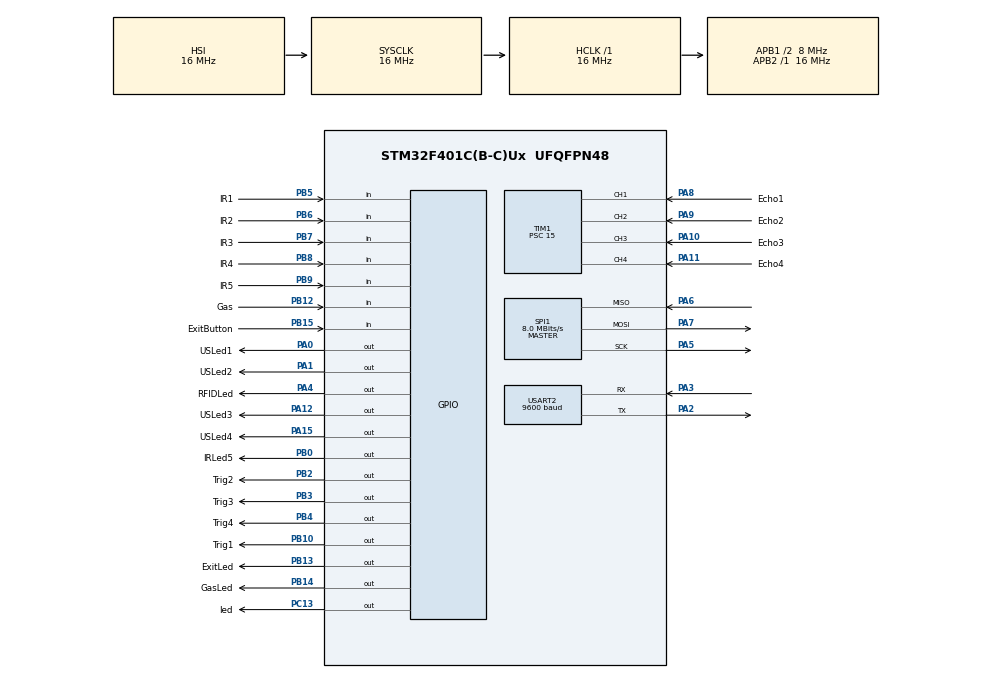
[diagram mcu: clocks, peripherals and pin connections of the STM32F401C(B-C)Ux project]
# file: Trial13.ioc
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Mcu.Family=STM32F4
Mcu.Name=STM32F401C(B-C)Ux
Mcu.Package=UFQFPN48
NVIC.PriorityGroup=NVIC_PRIORITYGROUP_4
NVIC.TIM1_CC_IRQn=true\:0\:0\:false\:false\:true\:true\:true\:true
PA0-WKUP.GPIO_Label=USLed1
PA0-WKUP.Signal=GPIO_Output
PA1.GPIO_Label=USLed2
PA1.Signal=GPIO_Output
PA10.GPIO_Label=Echo3
PA10.Signal=S_TIM1_CH3
PA11.GPIO_Label=Echo4
PA11.Signal=S_TIM1_CH4
PA12.GPIO_Label=USLed3
PA12.Signal=GPIO_Output
PA13.Mode=Serial_Wire
PA13.Signal=SYS_JTMS-SWDIO
PA14.Mode=Serial_Wire
PA14.Signal=SYS_JTCK-SWCLK
PA15.GPIO_Label=USLed4
PA15.Signal=GPIO_Output
PA2.Mode=Asynchronous
PA2.Signal=USART2_TX
PA3.Mode=Asynchronous
PA3.Signal=USART2_RX
PA4.GPIO_Label=RFIDLed
PA4.Signal=GPIO_Output
PA5.Mode=Full_Duplex_Master
PA5.Signal=SPI1_SCK
PA6.Mode=Full_Duplex_Master
PA6.Signal=SPI1_MISO
PA7.Mode=Full_Duplex_Master
PA7.Signal=SPI1_MOSI
PA8.GPIO_Label=Echo1
PA8.Signal=S_TIM1_CH1
PA9.GPIO_Label=Echo2
PA9.Signal=S_TIM1_CH2
PB0.GPIO_Label=IRLed5
PB0.Signal=GPIO_Output
PB10.GPIO_Label=Trig1
PB10.Signal=GPIO_Output
PB12.GPIO_Label=Gas
PB12.Signal=GPIO_Input
PB13.GPIO_Label=ExitLed
PB13.Signal=GPIO_Output
PB14.GPIO_Label=GasLed
PB14.Signal=GPIO_Output
PB15.GPIO_Label=ExitButton
PB15.GPIO_PuPd=GPIO_PULLUP
PB15.Signal=GPIO_Input
PB2.GPIO_Label=Trig2
PB2.Signal=GPIO_Output
PB3.GPIO_Label=Trig3
PB3.Signal=GPIO_Output
PB4.GPIO_Label=Trig4
PB4.Signal=GPIO_Output
PB5.GPIO_Label=IR1
PB5.GPIO_PuPd=GPIO_PULLUP
PB5.Signal=GPIO_Input
PB6.GPIO_Label=IR2
PB6.GPIO_PuPd=GPIO_PULLUP
PB6.Signal=GPIO_Input
PB7.GPIO_Label=IR3
PB7.GPIO_PuPd=GPIO_PULLUP
PB7.Signal=GPIO_Input
PB8.GPIO_Label=IR4
PB8.GPIO_PuPd=GPIO_PULLUP
PB8.Signal=GPIO_Input
PB9.GPIO_Label=IR5
PB9.GPIO_PuPd=GPIO_PULLUP
PB9.Signal=GPIO_Input
PC13-ANTI_TAMP.GPIO_Label=led
PC13-ANTI_TAMP.Signal=GPIO_Output
PH0\ -\ OSC_IN.Mode=HSE-External-Oscillator
PH0\ -\ OSC_IN.Signal=RCC_OSC_IN
PH1\ -\ OSC_OUT.Mode=HSE-External-Oscillator
PH1\ -\ OSC_OUT.Signal=RCC_OSC_OUT
ProjectManager.HeapSize=0x200
ProjectManager.StackSize=0x400
ProjectManager.TargetToolchain=STM32CubeIDE
RCC.48MHZClocksFreq_Value=26880000
RCC.AHBFreq_Value=16000000
RCC.APB1CLKDivider=RCC_HCLK_DIV2
RCC.APB1Freq_Value=8000000
RCC.APB1TimFreq_Value=16000000
RCC.APB2Freq_Value=16000000
RCC.APB2TimFreq_Value=16000000
RCC.CortexFreq_Value=16000000
RCC.HCLKFreq_Value=16000000
RCC.HSE_VALUE=25000000
RCC.HSI_VALUE=16000000
RCC.LSE_VALUE=32768
RCC.PLLM=25
RCC.PLLN=168
RCC.SYSCLKFreq_VALUE=16000000
RCC.VCOOutputFreq_Value=107520000
SH.S_TIM1_CH1.0=TIM1_CH1,Input_Capture1_from_TI1
SH.S_TIM1_CH2.0=TIM1_CH2,Input_Capture2_from_TI2
SH.S_TIM1_CH3.0=TIM1_CH3,Input_Capture3_from_TI3
SH.S_TIM1_CH4.0=TIM1_CH4,Input_Capture4_from_TI4
SPI1.BaudRatePrescaler=SPI_BAUDRATEPRESCALER_2
SPI1.CalculateBaudRate=8.0 MBits/s
SPI1.Direction=SPI_DIRECTION_2LINES
SPI1.Mode=SPI_MODE_MASTER
SPI1.VirtualType=VM_MASTER
TIM1.Channel-Input_Capture1_from_TI1=TIM_CHANNEL_1
TIM1.Channel-Input_Capture2_from_TI2=TIM_CHANNEL_2
TIM1.Channel-Input_Capture3_from_TI3=TIM_CHANNEL_3
TIM1.Channel-Input_Capture4_from_TI4=TIM_CHANNEL_4
TIM1.Prescaler=15
USART2.BaudRate=9600
USART2.VirtualMode=VM_ASYNC
VP_TIM1_VS_ClockSourceINT.Mode=Internal
board=custom

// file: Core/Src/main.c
/* USER CODE BEGIN Header */
/**
  ******************************************************************************
  * @file           : main.c
  * @brief          : Main program body
  ******************************************************************************
  * @attention
  *
  * Copyright (c) 2026 STMicroelectronics.
  * All rights reserved.
  *
  * This software is licensed under terms that can be found in the LICENSE file
  * in the root directory of this software component.
  * If no LICENSE file comes with this software, it is provided AS-IS.
  *
  ******************************************************************************
  */
/* USER CODE END Header */
#include "main.h"

/* USER CODE BEGIN Includes */
#include "rc522.h"
#include "string.h"
#include "stdio.h"
/* USER CODE END Includes */

SPI_HandleTypeDef hspi1;

TIM_HandleTypeDef htim1;

UART_HandleTypeDef huart2;

/* USER CODE BEGIN PV */
uint8_t status;
uint8_t str[16];
uint8_t sNum[5];
//char global_rx_buffer[256] = {0}; //sol
//uint8_t rx_idx = 0; //sol
/* USER CODE END PV */

void SystemClock_Config(void);
static void MX_GPIO_Init(void);
static void MX_TIM1_Init(void);
static void MX_USART2_UART_Init(void);
static void MX_SPI1_Init(void);

/* USER CODE BEGIN 0 */

uint32_t IC_Val1[4] = {0};
uint32_t IC_Val2[4] = {0};
uint32_t Difference[4] = {0};
uint8_t Is_First_Captured[4] = {0};
float Distance[4] = {0};

void delay_us(uint16_t us)
{
    __HAL_TIM_SET_COUNTER(&htim1, 0);
    while (__HAL_TIM_GET_COUNTER(&htim1) < us);
}

void HCSR04_Read_Sensor(uint8_t idx)
{
    uint16_t trig_pin;
    uint32_t channel_it;
    uint32_t timer_channel;

    switch(idx)
    {
        case 0: trig_pin = Trig1_Pin; channel_it = TIM_IT_CC1; timer_channel = TIM_CHANNEL_1; break;
        case 1: trig_pin = Trig2_Pin; channel_it = TIM_IT_CC2; timer_channel = TIM_CHANNEL_2; break;
        case 2: trig_pin = Trig3_Pin; channel_it = TIM_IT_CC3; timer_channel = TIM_CHANNEL_3; break;
        case 3: trig_pin = Trig4_Pin; channel_it = TIM_IT_CC4; timer_channel = TIM_CHANNEL_4; break;
        default: return;
    }

    Is_First_Captured[idx] = 0;
    __HAL_TIM_SET_CAPTUREPOLARITY(&htim1, timer_channel, TIM_INPUTCHANNELPOLARITY_RISING);

    __HAL_TIM_CLEAR_FLAG(&htim1, channel_it);

    HAL_GPIO_WritePin(GPIOB, trig_pin, GPIO_PIN_SET);
    delay_us(10);
    HAL_GPIO_WritePin(GPIOB, trig_pin, GPIO_PIN_RESET);

    __HAL_TIM_ENABLE_IT(&htim1, channel_it);
}
void HAL_TIM_IC_CaptureCallback(TIM_HandleTypeDef *htim)
{
    if (htim->Instance != TIM1) return;

    uint8_t idx;
    uint32_t channel;

    if (htim->Channel == HAL_TIM_ACTIVE_CHANNEL_1) { idx = 0; channel = TIM_CHANNEL_1; }
    else if (htim->Channel == HAL_TIM_ACTIVE_CHANNEL_2) { idx = 1; channel = TIM_CHANNEL_2; }
    else if (htim->Channel == HAL_TIM_ACTIVE_CHANNEL_3) { idx = 2; channel = TIM_CHANNEL_3; }
    else if (htim->Channel == HAL_TIM_ACTIVE_CHANNEL_4) { idx = 3; channel = TIM_CHANNEL_4; }
    else return;

    if (Is_First_Captured[idx] == 0)
    {
        IC_Val1[idx] = HAL_TIM_ReadCapturedValue(htim, channel);
        Is_First_Captured[idx] = 1;
        __HAL_TIM_SET_CAPTUREPOLARITY(htim, channel, TIM_INPUTCHANNELPOLARITY_FALLING);
    }
    else
    {
        IC_Val2[idx] = HAL_TIM_ReadCapturedValue(htim, channel);
        __HAL_TIM_SET_CAPTUREPOLARITY(htim, channel, TIM_INPUTCHANNELPOLARITY_RISING);

        if (IC_Val2[idx] > IC_Val1[idx])
            Difference[idx] = IC_Val2[idx] - IC_Val1[idx];
        else
            Difference[idx] = (htim->Instance->ARR - IC_Val1[idx]) + IC_Val2[idx];

        Distance[idx] = Difference[idx] * 0.034 / 2;
        Is_First_Captured[idx] = 0;
    }

}

void Send_Sensor_Update(char type, uint8_t index, uint8_t state) {
    char msg[10];
    sprintf(msg, "%c,%d,%d\n", type, index, state);
    HAL_UART_Transmit(&huart2, (uint8_t*)msg, strlen(msg), 100);
}

/* USER CODE END 0 */

int main(void)
{

  /* MCU Configuration--------------------------------------------------------*/

  /* Reset of all peripherals, Initializes the Flash interface and the Systick. */
  HAL_Init();

  /* Configure the system clock */
  SystemClock_Config();

  /* Initialize all configured peripherals */
  MX_GPIO_Init();
  MX_TIM1_Init();
  MX_USART2_UART_Init();
  MX_SPI1_Init();
  /* USER CODE BEGIN 2 */
  HAL_TIM_IC_Start_IT(&htim1, TIM_CHANNEL_1);
  HAL_TIM_IC_Start_IT(&htim1, TIM_CHANNEL_2);
  HAL_TIM_IC_Start_IT(&htim1, TIM_CHANNEL_3);
  HAL_TIM_IC_Start_IT(&htim1, TIM_CHANNEL_4);

  MFRC522_Init();

 // ESP_ConnectToServer();

  HAL_GPIO_WritePin(GPIOA, GPIO_PIN_4, GPIO_PIN_SET);
  HAL_Delay(2000);
  HAL_GPIO_WritePin(GPIOA, GPIO_PIN_4, GPIO_PIN_RESET);

  HAL_Delay(100);

  /* USER CODE END 2 */

  /* Infinite loop */
  /* USER CODE BEGIN WHILE */

    int flagM1 = 0;
    int flagM2 = 0;
    int flagG = 0;
    int flagU[] = {0,0,0,0};
    int flagI[] = {0,0,0,0,0};

    while (1)
    {
    /* USER CODE END WHILE */

    /* USER CODE BEGIN 3 */

      HAL_Delay(1000);

	    status = MFRC522_Request(PICC_REQIDL, str);

	    if (status == MI_OK)
	    {
	       status = MFRC522_Anticoll(str);

	        if (status == MI_OK)
	        {
	            HAL_GPIO_WritePin(GPIOA, RFIDLed_Pin, GPIO_PIN_SET);
	            if (flagM1 == 0){
	            Send_Sensor_Update('M', 1, 1); flagM1 = 1;}
	            HAL_Delay(5000);

	            char idString[16];
	            sprintf(idString, "R,%02X%02X%02X%02X\n", str[0], str[1], str[2], str[3]);
	            HAL_UART_Transmit(&huart2, (uint8_t*)idString, strlen(idString), 100);

	            HAL_Delay(6000);

	            HAL_GPIO_WritePin(GPIOA, RFIDLed_Pin, GPIO_PIN_RESET);
	            if(flagM1 == 1){
	            Send_Sensor_Update('M', 1, 0); flagM1 = 0;}
	            HAL_Delay(5000);
	        }
	    }

	    if (HAL_GPIO_ReadPin(GPIOB, Gas_Pin) == GPIO_PIN_RESET)
	          {
	              HAL_GPIO_WritePin(GPIOB, GasLed_Pin, GPIO_PIN_SET);

	              if (flagG == 0){
	              Send_Sensor_Update('G', 0, 1); flagG = 1;
	              HAL_Delay(4000);}
	          }
	          else
	          {
	              HAL_GPIO_WritePin(GPIOB, GasLed_Pin, GPIO_PIN_RESET);
	              if (flagG == 1){
	              Send_Sensor_Update('G', 0, 0); flagG = 0;
	              HAL_Delay(4000);}
	          }

	  for (uint8_t i = 0; i < 4; i++)
		 	 	      {
		 	 	          Is_First_Captured[i] = 0;

		 	 	          uint32_t ch = (i==0)?TIM_CHANNEL_1 : (i==1)?TIM_CHANNEL_2 : (i==2)?TIM_CHANNEL_3 : TIM_CHANNEL_4;
		 	 	          __HAL_TIM_SET_CAPTUREPOLARITY(&htim1, ch, TIM_INPUTCHANNELPOLARITY_RISING);

		 	 	          HCSR04_Read_Sensor(i);
		 	 	          HAL_Delay(50);

		 	 	          uint16_t led_pin;
		 	 	          switch(i)
		 	 	          {
		 	 	              case 0: led_pin = USLed1_Pin; break;
		 	 	              case 1: led_pin = USLed2_Pin; break;
		 	 	              case 2: led_pin = USLed3_Pin; break;
		 	 	              case 3: led_pin = USLed4_Pin; break;
		 	 	              default: continue;
		 	 	          }

		 	 	          if (Distance[i] > 0.1 && Distance[i] < 5.0){
		 	 	              HAL_GPIO_WritePin(GPIOA, led_pin, GPIO_PIN_SET);
		 	 	              if (flagU[i] == 0){
		 	 	              Send_Sensor_Update('U', i+1, 1); HAL_Delay(4000); flagU[i] = 1;}
		 	 	          }
		 	 	          else{
		 	 	              HAL_GPIO_WritePin(GPIOA, led_pin, GPIO_PIN_RESET);
		 	 	              if (flagU[i] == 1){
		 	 	              Send_Sensor_Update('U', i+1, 0); HAL_Delay(4000); flagU[i] = 0;}
		 	 	          }
		 	 	      }

		 	 		  if (HAL_GPIO_ReadPin(ExitButton_GPIO_Port, ExitButton_Pin) == GPIO_PIN_RESET)
		 	 		  {
		 	 		      HAL_GPIO_WritePin(ExitLed_GPIO_Port, ExitLed_Pin, GPIO_PIN_SET);
		 	 		      if (flagM2 == 0){
		 	 		      Send_Sensor_Update('M', 2, 1); HAL_Delay(4000); flagM2 = 1;}
		 	 		  }
		 	 	      else
		 	 		  {
		 	 		      HAL_GPIO_WritePin(ExitLed_GPIO_Port, ExitLed_Pin, GPIO_PIN_RESET);
		 	 		      if (flagM2 == 1){
		 	 		      Send_Sensor_Update('M', 2, 0); HAL_Delay(4000); flagM2 = 0;}
		 	 		  }

		 	 	      if (HAL_GPIO_ReadPin(IR1_GPIO_Port, IR1_Pin) == GPIO_PIN_RESET) {
		 	 	    	  if (flagI[0] == 1){
		 	 	          Send_Sensor_Update('I', 1, 1); HAL_Delay(4000); flagI[0] = 0;}
		 	 	      } else {
		 	 	    	if (flagI[0] == 0){
		 	 	    	Send_Sensor_Update('I', 1, 0); HAL_Delay(4000); flagI[0] = 1;}
		 	 	      }
		 	 	      if (HAL_GPIO_ReadPin(IR2_GPIO_Port, IR2_Pin) == GPIO_PIN_RESET) {
		 	 	    	if (flagI[1] == 1){
		 	 	        Send_Sensor_Update('I', 2, 1); HAL_Delay(4000); flagI[1] = 0;}
		 	 	      } else {
		 	 	    	if (flagI[1] == 0){
		 	 	        Send_Sensor_Update('I', 2, 0); HAL_Delay(4000); flagI[1] = 1;}
		 	 	      }

		 	 	      if (HAL_GPIO_ReadPin(IR3_GPIO_Port, IR3_Pin) == GPIO_PIN_RESET) {
		 	 	    	if (flagI[2] == 1){
		 	 	        Send_Sensor_Update('I', 3, 1); HAL_Delay(4000); flagI[2] = 0;}
		 	 	      } else {
		 	 	    	if (flagI[2] == 0){
		 	 	        Send_Sensor_Update('I', 3, 0); HAL_Delay(4000); flagI[2] = 1;}
		 	 	      }
		 	 	      if (HAL_GPIO_ReadPin(IR4_GPIO_Port, IR4_Pin) == GPIO_PIN_RESET) {
		 	 	    	if (flagI[3] == 1){
		 	 	        Send_Sensor_Update('I', 4, 1); HAL_Delay(4000); flagI[3] = 0;}
		 	 	      } else {
		 	 	    	if (flagI[3] == 0){
		 	 	         Send_Sensor_Update('I', 4, 0); HAL_Delay(4000); flagI[3] = 1;}
		 	 	      }
		 	 	      if (HAL_GPIO_ReadPin(IR5_GPIO_Port, IR5_Pin) == GPIO_PIN_RESET) {
		 	 	          HAL_GPIO_WritePin(IRLed5_GPIO_Port, IRLed5_Pin, GPIO_PIN_RESET);
		 	 	        if (flagI[4] == 1){
		 	 	        Send_Sensor_Update('I', 5, 1); HAL_Delay(4000); flagI[4] = 0;}
		 	 	      } else {
		 	 	         HAL_GPIO_WritePin(IRLed5_GPIO_Port, IRLed5_Pin, GPIO_PIN_SET);
		 	 	       if (flagI[4] == 0){
		 	 	        Send_Sensor_Update('I', 5, 0); HAL_Delay(4000); flagI[4] = 1;}
		 	 	      }

    /* USER CODE END WHILE */

    /* USER CODE BEGIN 3 */
  }
  /* USER CODE END 3 */
}

void SystemClock_Config(void)
{
  RCC_OscInitTypeDef RCC_OscInitStruct = {0};
  RCC_ClkInitTypeDef RCC_ClkInitStruct = {0};

  /** Configure the main internal regulator output voltage
  */
  __HAL_RCC_PWR_CLK_ENABLE();
  __HAL_PWR_VOLTAGESCALING_CONFIG(PWR_REGULATOR_VOLTAGE_SCALE2);

  /** Initializes the RCC Oscillators according to the specified parameters
  * in the RCC_OscInitTypeDef structure.
  */
  RCC_OscInitStruct.OscillatorType = RCC_OSCILLATORTYPE_HSI;
  RCC_OscInitStruct.HSIState = RCC_HSI_ON;
  RCC_OscInitStruct.HSICalibrationValue = RCC_HSICALIBRATION_DEFAULT;
  RCC_OscInitStruct.PLL.PLLState = RCC_PLL_NONE;
  if (HAL_RCC_OscConfig(&RCC_OscInitStruct) != HAL_OK)
  {
    Error_Handler();
  }

  /** Initializes the CPU, AHB and APB buses clocks
  */
  RCC_ClkInitStruct.ClockType = RCC_CLOCKTYPE_HCLK|RCC_CLOCKTYPE_SYSCLK
                              |RCC_CLOCKTYPE_PCLK1|RCC_CLOCKTYPE_PCLK2;
  RCC_ClkInitStruct.SYSCLKSource = RCC_SYSCLKSOURCE_HSI;
  RCC_ClkInitStruct.AHBCLKDivider = RCC_SYSCLK_DIV1;
  RCC_ClkInitStruct.APB1CLKDivider = RCC_HCLK_DIV2;
  RCC_ClkInitStruct.APB2CLKDivider = RCC_HCLK_DIV1;

  if (HAL_RCC_ClockConfig(&RCC_ClkInitStruct, FLASH_LATENCY_0) != HAL_OK)
  {
    Error_Handler();
  }
}

static void MX_SPI1_Init(void)
{

  /* SPI1 parameter configuration*/
  hspi1.Instance = SPI1;
  hspi1.Init.Mode = SPI_MODE_MASTER;
  hspi1.Init.Direction = SPI_DIRECTION_2LINES;
  hspi1.Init.DataSize = SPI_DATASIZE_8BIT;
  hspi1.Init.CLKPolarity = SPI_POLARITY_LOW;
  hspi1.Init.CLKPhase = SPI_PHASE_1EDGE;
  hspi1.Init.NSS = SPI_NSS_SOFT;
  hspi1.Init.BaudRatePrescaler = SPI_BAUDRATEPRESCALER_2;
  hspi1.Init.FirstBit = SPI_FIRSTBIT_MSB;
  hspi1.Init.TIMode = SPI_TIMODE_DISABLE;
  hspi1.Init.CRCCalculation = SPI_CRCCALCULATION_DISABLE;
  hspi1.Init.CRCPolynomial = 10;
  if (HAL_SPI_Init(&hspi1) != HAL_OK)
  {
    Error_Handler();
  }

}

static void MX_TIM1_Init(void)
{

  TIM_ClockConfigTypeDef sClockSourceConfig = {0};
  TIM_MasterConfigTypeDef sMasterConfig = {0};
  TIM_IC_InitTypeDef sConfigIC = {0};

  htim1.Instance = TIM1;
  htim1.Init.Prescaler = 15;
  htim1.Init.CounterMode = TIM_COUNTERMODE_UP;
  htim1.Init.Period = 65535;
  htim1.Init.ClockDivision = TIM_CLOCKDIVISION_DIV1;
  htim1.Init.RepetitionCounter = 0;
  htim1.Init.AutoReloadPreload = TIM_AUTORELOAD_PRELOAD_DISABLE;
  if (HAL_TIM_Base_Init(&htim1) != HAL_OK)
  {
    Error_Handler();
  }
  sClockSourceConfig.ClockSource = TIM_CLOCKSOURCE_INTERNAL;
  if (HAL_TIM_ConfigClockSource(&htim1, &sClockSourceConfig) != HAL_OK)
  {
    Error_Handler();
  }
  if (HAL_TIM_IC_Init(&htim1) != HAL_OK)
  {
    Error_Handler();
  }
  sMasterConfig.MasterOutputTrigger = TIM_TRGO_RESET;
  sMasterConfig.MasterSlaveMode = TIM_MASTERSLAVEMODE_DISABLE;
  if (HAL_TIMEx_MasterConfigSynchronization(&htim1, &sMasterConfig) != HAL_OK)
  {
    Error_Handler();
  }
  sConfigIC.ICPolarity = TIM_INPUTCHANNELPOLARITY_RISING;
  sConfigIC.ICSelection = TIM_ICSELECTION_DIRECTTI;
  sConfigIC.ICPrescaler = TIM_ICPSC_DIV1;
  sConfigIC.ICFilter = 0;
  if (HAL_TIM_IC_ConfigChannel(&htim1, &sConfigIC, TIM_CHANNEL_1) != HAL_OK)
  {
    Error_Handler();
  }
  if (HAL_TIM_IC_ConfigChannel(&htim1, &sConfigIC, TIM_CHANNEL_2) != HAL_OK)
  {
    Error_Handler();
  }
  if (HAL_TIM_IC_ConfigChannel(&htim1, &sConfigIC, TIM_CHANNEL_3) != HAL_OK)
  {
    Error_Handler();
  }
  if (HAL_TIM_IC_ConfigChannel(&htim1, &sConfigIC, TIM_CHANNEL_4) != HAL_OK)
  {
    Error_Handler();
  }

}

static void MX_USART2_UART_Init(void)
{

  huart2.Instance = USART2;
  huart2.Init.BaudRate = 9600;
  huart2.Init.WordLength = UART_WORDLENGTH_8B;
  huart2.Init.StopBits = UART_STOPBITS_1;
  huart2.Init.Parity = UART_PARITY_NONE;
  huart2.Init.Mode = UART_MODE_TX_RX;
  huart2.Init.HwFlowCtl = UART_HWCONTROL_NONE;
  huart2.Init.OverSampling = UART_OVERSAMPLING_16;
  if (HAL_UART_Init(&huart2) != HAL_OK)
  {
    Error_Handler();
  }

}

static void MX_GPIO_Init(void)
{
  GPIO_InitTypeDef GPIO_InitStruct = {0};

  /* GPIO Ports Clock Enable */
  __HAL_RCC_GPIOC_CLK_ENABLE();
  __HAL_RCC_GPIOH_CLK_ENABLE();
  __HAL_RCC_GPIOA_CLK_ENABLE();
  __HAL_RCC_GPIOB_CLK_ENABLE();

  /*Configure GPIO pin Output Level */
  HAL_GPIO_WritePin(led_GPIO_Port, led_Pin, GPIO_PIN_RESET);

  /*Configure GPIO pin Output Level */
  HAL_GPIO_WritePin(GPIOA, USLed1_Pin|USLed2_Pin|RFIDLed_Pin|USLed3_Pin
                          |USLed4_Pin, GPIO_PIN_RESET);

  /*Configure GPIO pin Output Level */
  HAL_GPIO_WritePin(GPIOB, IRLed5_Pin|Trig2_Pin|Trig1_Pin|ExitLed_Pin
                          |GasLed_Pin|Trig3_Pin|Trig4_Pin, GPIO_PIN_RESET);

  /*Configure GPIO pin : led_Pin */
  GPIO_InitStruct.Pin = led_Pin;
  GPIO_InitStruct.Mode = GPIO_MODE_OUTPUT_PP;
  GPIO_InitStruct.Pull = GPIO_NOPULL;
  GPIO_InitStruct.Speed = GPIO_SPEED_FREQ_LOW;
  HAL_GPIO_Init(led_GPIO_Port, &GPIO_InitStruct);

  /*Configure GPIO pins : USLed1_Pin USLed2_Pin RFIDLed_Pin USLed3_Pin
                           USLed4_Pin */
  GPIO_InitStruct.Pin = USLed1_Pin|USLed2_Pin|RFIDLed_Pin|USLed3_Pin
                          |USLed4_Pin;
  GPIO_InitStruct.Mode = GPIO_MODE_OUTPUT_PP;
  GPIO_InitStruct.Pull = GPIO_NOPULL;
  GPIO_InitStruct.Speed = GPIO_SPEED_FREQ_LOW;
  HAL_GPIO_Init(GPIOA, &GPIO_InitStruct);

  /*Configure GPIO pins : IRLed5_Pin Trig2_Pin Trig1_Pin ExitLed_Pin
                           GasLed_Pin Trig3_Pin Trig4_Pin */
  GPIO_InitStruct.Pin = IRLed5_Pin|Trig2_Pin|Trig1_Pin|ExitLed_Pin
                          |GasLed_Pin|Trig3_Pin|Trig4_Pin;
  GPIO_InitStruct.Mode = GPIO_MODE_OUTPUT_PP;
  GPIO_InitStruct.Pull = GPIO_NOPULL;
  GPIO_InitStruct.Speed = GPIO_SPEED_FREQ_LOW;
  HAL_GPIO_Init(GPIOB, &GPIO_InitStruct);

  /*Configure GPIO pin : Gas_Pin */
  GPIO_InitStruct.Pin = Gas_Pin;
  GPIO_InitStruct.Mode = GPIO_MODE_INPUT;
  GPIO_InitStruct.Pull = GPIO_NOPULL;
  HAL_GPIO_Init(Gas_GPIO_Port, &GPIO_InitStruct);

  /*Configure GPIO pins : ExitButton_Pin IR1_Pin IR2_Pin IR3_Pin
                           IR4_Pin IR5_Pin */
  GPIO_InitStruct.Pin = ExitButton_Pin|IR1_Pin|IR2_Pin|IR3_Pin
                          |IR4_Pin|IR5_Pin;
  GPIO_InitStruct.Mode = GPIO_MODE_INPUT;
  GPIO_InitStruct.Pull = GPIO_PULLUP;
  HAL_GPIO_Init(GPIOB, &GPIO_InitStruct);

}

void Error_Handler(void)
{
  __disable_irq();
  while (1)
  {
  }
}
